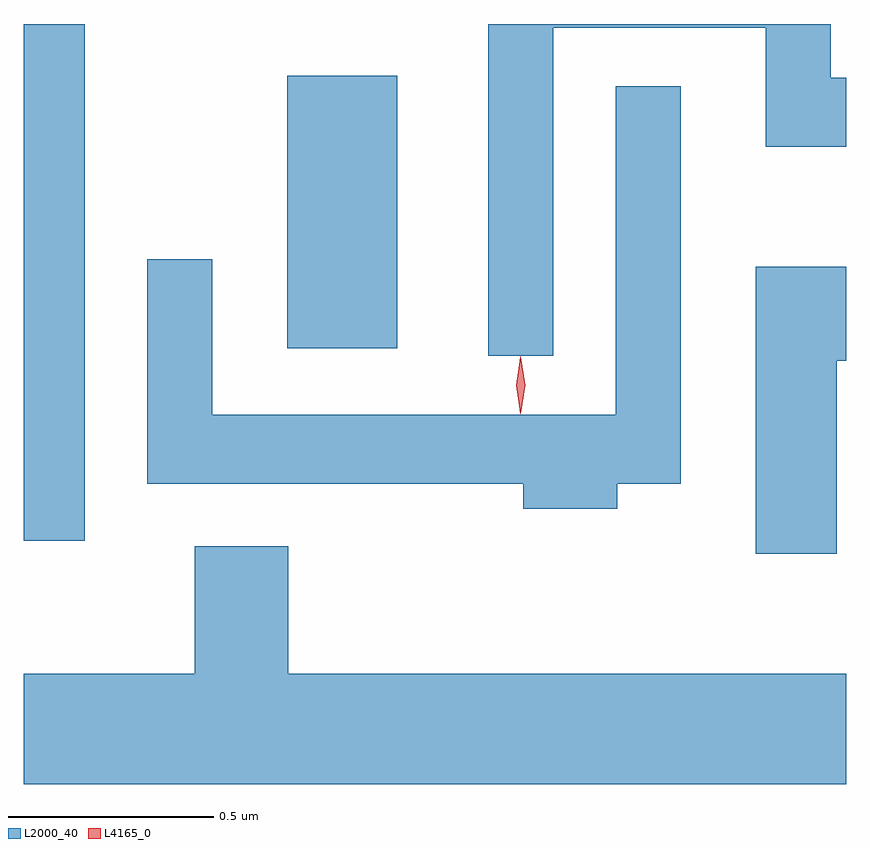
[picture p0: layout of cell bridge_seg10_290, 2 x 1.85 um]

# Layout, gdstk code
import gdstk
lib = gdstk.Library(unit=1e-6, precision=1e-09)
def R(c, l, rs):  # rectangles x0, y0, x1, y1
    for r in rs: c.add(gdstk.rectangle(r[:2], r[2:], *l))
def P(c, l, *ps):  # polygons
    for p in ps: c.add(gdstk.Polygon(p, *l))
L2000_40 = (2000, 40)
L4165_0 = (4165, 0)

bridge_seg10_290 = lib.new_cell('bridge_seg10_290')
R(bridge_seg10_290, L2000_40, [(1808.216,2098.968,1808.364,2100.225), (1808.856,2099.436,1809.124,2100.099)])
P(bridge_seg10_290, L2000_40, [(1809.504,2100.216),(1810.021,2100.216),(1810.021,2099.926),(1810.216,2099.926),(1810.216,2100.094),(1810.179,2100.094),(1810.179,2100.225),(1809.346,2100.225),(1809.346,2099.418),(1809.504,2099.418)],
  [(1809.659,2099.106),(1809.814,2099.106),(1809.814,2100.073),(1809.656,2100.073),(1809.656,2099.274),(1808.674,2099.274),(1808.674,2099.653),(1808.516,2099.653),(1808.516,2099.106),(1809.431,2099.106),(1809.431,2099.046),(1809.659,2099.046)],
  [(1810.194,2099.406),(1810.216,2099.406),(1810.216,2099.634),(1809.996,2099.634),(1809.996,2098.936),(1810.194,2098.936)],
  [(1810.216,2098.644),(1808.859,2098.644),(1808.859,2098.954),(1808.631,2098.954),(1808.631,2098.644),(1808.216,2098.644),(1808.216,2098.376),(1810.216,2098.376)])
P(bridge_seg10_290, L4165_0, [(1809.424,2099.279),(1809.424,2099.28),(1809.414,2099.346),(1809.424,2099.412),(1809.424,2099.413),(1809.425,2099.412),(1809.434,2099.346),(1809.425,2099.28)],
  [(1809.424,2099.277),(1809.415,2099.346),(1809.424,2099.416),(1809.425,2099.416),(1809.425,2099.416),(1809.435,2099.346),(1809.425,2099.277),(1809.425,2099.277)])

lib.write_gds('bridge_seg10_290.gds')
